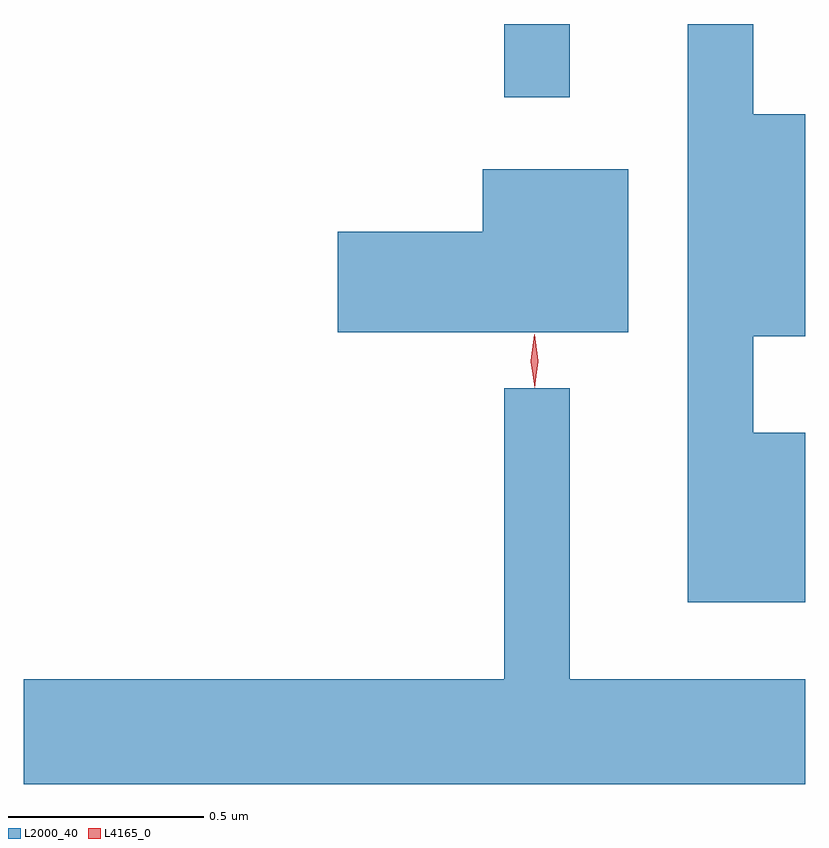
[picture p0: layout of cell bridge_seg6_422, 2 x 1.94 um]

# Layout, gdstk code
import gdstk
lib = gdstk.Library(unit=1e-6, precision=1e-09)
def R(c, l, rs):  # rectangles x0, y0, x1, y1
    for r in rs: c.add(gdstk.rectangle(r[:2], r[2:], *l))
def P(c, l, *ps):  # polygons
    for p in ps: c.add(gdstk.Polygon(p, *l))
L2000_40 = (2000, 40)
L4165_0 = (4165, 0)

bridge_seg6_422 = lib.new_cell('bridge_seg6_422')
R(bridge_seg6_422, L2000_40, [(882.461,1658.353,882.629,1658.54)])
P(bridge_seg6_422, L2000_40, [(883.232,1657.494),(883.099,1657.494),(883.099,1657.741),(883.232,1657.741),(883.232,1658.309),(883.099,1658.309),(883.099,1658.54),(882.931,1658.54),(882.931,1657.061),(883.232,1657.061)],
  [(882.779,1658.169),(882.406,1658.169),(882.406,1658.009),(882.036,1658.009),(882.036,1657.751),(882.779,1657.751)],
  [(883.232,1656.864),(882.629,1656.864),(882.629,1657.608),(882.461,1657.608),(882.461,1656.864),(881.232,1656.864),(881.232,1656.596),(883.232,1656.596)])
P(bridge_seg6_422, L4165_0, [(882.539,1657.61),(882.529,1657.678),(882.538,1657.745),(882.539,1657.746),(882.539,1657.745),(882.549,1657.678),(882.54,1657.61),(882.54,1657.61)],
  [(882.539,1657.613),(882.529,1657.676),(882.539,1657.74),(882.539,1657.74),(882.54,1657.74),(882.549,1657.676),(882.54,1657.613),(882.54,1657.613)])

lib.write_gds('bridge_seg6_422.gds')
